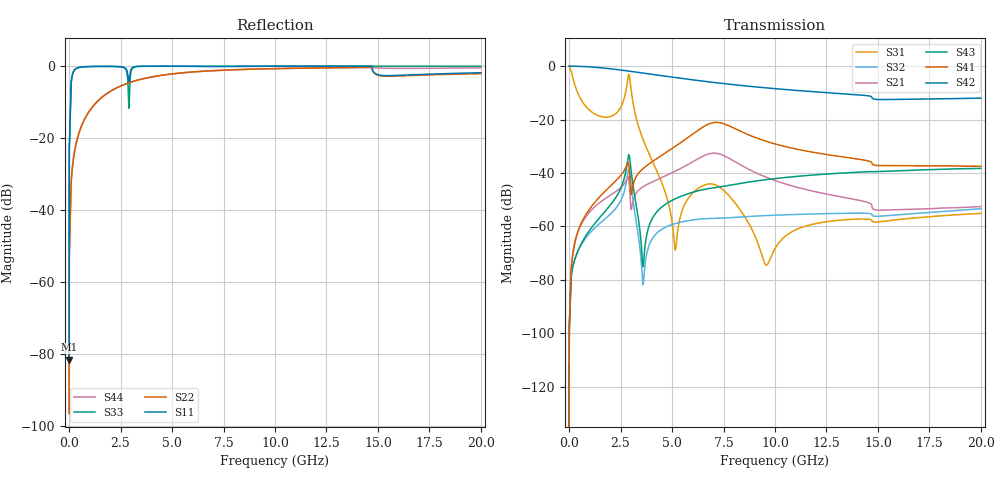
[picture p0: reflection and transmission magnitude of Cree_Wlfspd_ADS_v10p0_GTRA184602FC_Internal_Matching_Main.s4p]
! Created Fri Sep 18 17:03:59 2020
# hz S ma R 50
! 4 Port Network Data from SP1.SP block
! freq  magS11  angS11  magS12  angS12  magS13  angS13  magS14  angS14
!  magS21  angS21  magS22  angS22  magS23  angS23  magS24  angS24
!  magS31  angS31  magS32  angS32  magS33  angS33  magS34  angS34
!  magS41  angS41  magS42  angS42  magS43  angS43  magS44  angS44
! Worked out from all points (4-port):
!   1995 points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, 10 kHz to 20 GHz, reference 50 ohm
!   strongest paths, dB at 10 kHz, 5.04 GHz, 10.03 GHz, 15.02 GHz, 20 GHz:
!     S42: 0.0, -4.1, -8.4, -12.5, -12.0
!     S41: -157.5, -30.6, -29.2, -37.2, -37.5
!     S43: -157.5, -50.1, -42.1, -39.5, -38.3
!     S21: -157.5, -39.8, -42.9, -53.9, -52.6
!     S32: -157.5, -59.2, -55.8, -56.2, -53.4
!     S31: 0.0, -60.8, -67.9, -58.3, -55.1
!   lowest |S11| = -81.5 dB at 10 kHz (marker M1), VSWR 1.00, Z = 50 - j0.00732 ohm
!   |S11| at or under -10 dB: start of sweep to 73.14 MHz
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10000  8.459e-05 -59.9  1.339e-08 90.0  1 -0.0  1.339e-08 -90.0
       1.339e-08 90.0  1.519e-05 -9.5  1.339e-08 -90.0  1 -0.0
       1 -0.0  1.339e-08 -90.0  8.459e-05 -59.9  1.339e-08 90.0
       1.339e-08 -90.0  1 -0.0  1.339e-08 90.0  1.519e-05 -9.5
2.5e8  0.8761 -152.8  0.0004402 92.7  0.4817 -62.6  0.0004443 -79.3
       0.0004402 92.7  0.0621 -93.8  0.000222 -111.1  0.998 -4.5
       0.4817 -62.6  0.000222 -111.1  0.8761 -152.3  0.000224 76.9
       0.0004443 -79.3  0.998 -4.5  0.000224 76.9  0.06209 -95.0
2.92e9  0.6308 173.3  0.006427 -33.4  0.6826 161.0  0.01206 -153.6
        0.006427 -33.4  0.5899 -129.3  0.01138 114.9  0.8072 -46.5
        0.6826 161.0  0.01138 114.9  0.3181 -52.4  0.02137 -5.3
        0.01206 -153.6  0.8072 -46.5  0.02137 -5.3  0.5891 -143.7
3.59e9  0.9973 160.1  0.00551 25.2  0.04255 83.4  0.01204 -89.6
        0.00551 25.2  0.6683 -135.8  8.051e-05 -55.6  0.7437 -54.7
        0.04255 83.4  8.051e-05 -55.6  0.995 -177.9  0.0001759 -170.4
        0.01204 -89.6  0.7437 -54.7  0.0001759 -170.4  0.6678 -153.4
5.16e9  0.997 131.5  0.01083 -4.8  0.0003608 155.7  0.03158 -111.2
        0.01083 -4.8  0.7905 -148.0  0.001131 -164.7  0.6122 -70.5
        0.0003608 155.7  0.001131 -164.7  0.9985 172.4  0.0033 88.9
        0.03158 -111.2  0.6122 -70.5  0.0033 88.9  0.7893 -172.9
7.07e9  0.9864 -0.4  0.0235 -85.3  0.006057 168.7  0.0884 174.4
        0.0235 -85.3  0.8696 -158.7  0.001411 175.0  0.493 -85.2
        0.006057 168.7  0.001411 175.0  0.9986 166.5  0.005308 74.7
        0.0884 174.4  0.493 -85.2  0.005308 74.7  0.8646 168.3
2e10  0.8103 174.9  0.002352 138.3  0.001758 -107.1  0.01337 50.7
      0.002352 138.3  0.7858 170.5  0.002145 114.9  0.2526 -133.5
      0.001758 -107.1  0.002145 114.9  0.9982 136.6  0.01219 27.3
      0.01337 50.7  0.2526 -133.5  0.01219 27.3  0.9457 95.0
